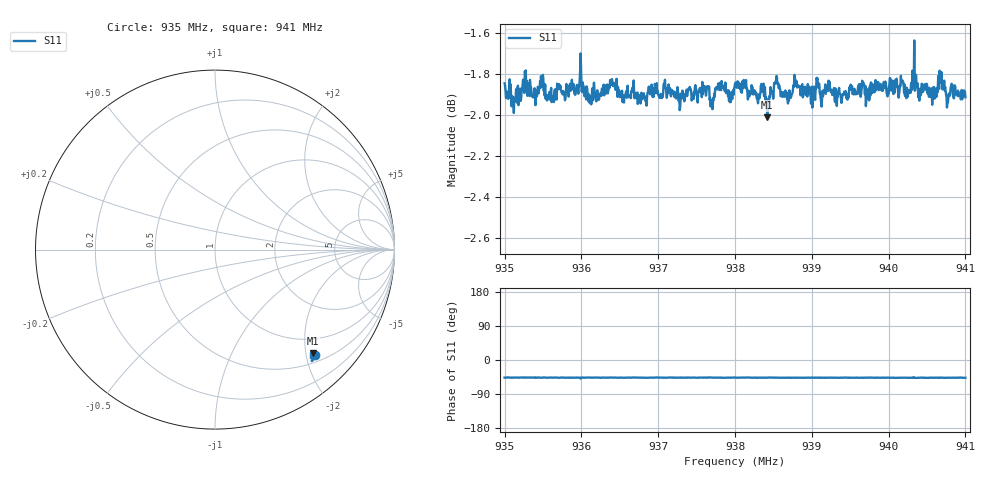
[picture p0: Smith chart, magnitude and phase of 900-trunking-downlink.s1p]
! Calibrated averaged scanner-service zoom
# Hz S RI R 50
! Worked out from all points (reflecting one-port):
!   1001 points, 935 MHz to 941 MHz, reference 50 ohm
!   lowest |S11| = -2.0 dB at 938.42 MHz (marker M1), VSWR 8.68, Z = 34.2 - j107 ohm
!   phase of S11 starts at -47 deg and turns -0 deg over the sweep
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9.35e8  0.5563 -0.5868
9.35132e8  0.5516 -0.58
9.35252e8  0.5558 -0.5821
9.3575e8  0.5537 -0.5843
9.35936e8  0.5567 -0.584
9.35996e8  0.558 -0.5935
9.36098e8  0.5545 -0.5817
9.36404e8  0.5573 -0.586
9.365e8  0.5526 -0.5816
9.36686e8  0.5576 -0.5799
9.36842e8  0.5477 -0.5841
9.36986e8  0.5567 -0.5802
9.3725e8  0.5559 -0.5848
9.37688e8  0.5533 -0.5791
9.37838e8  0.5543 -0.5874
9.38e8  0.559 -0.5837
9.38366e8  0.5541 -0.5885
9.3842e8  0.5434 -0.578
9.38492e8  0.5556 -0.582
9.3875e8  0.5519 -0.5852
9.395e8  0.5504 -0.5885
9.40178e8  0.5551 -0.589
9.4025e8  0.5503 -0.584
9.40358e8  0.5517 -0.5964
9.40676e8  0.5569 -0.5928
9.4076e8  0.5451 -0.5824
9.40838e8  0.5504 -0.5853
9.41e8  0.5485 -0.5855
